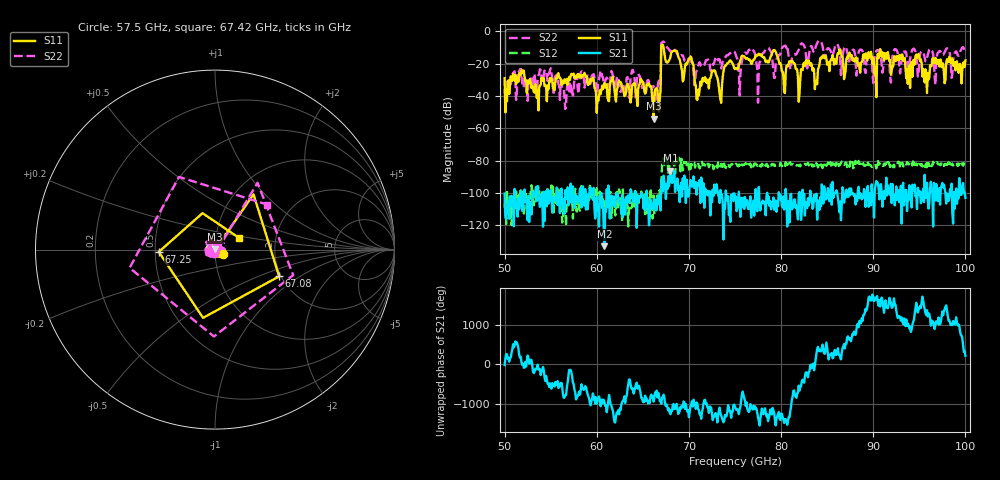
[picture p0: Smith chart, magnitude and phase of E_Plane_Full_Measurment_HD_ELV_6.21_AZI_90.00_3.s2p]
! 11/26/2026 3:14:58 PM
! C:\ANRITSUVNA\TEMP\TEMP.S2P
! CHANNEL.1
! TR.MEASUREMENT
! RAW.DATA
# HZ S RI R 50.0
! FREQ.HZ  S11RE  S11IM  S21RE  S21IM  S12RE  S12IM  S22RE  S22IM
!; PortSelection: Port_12
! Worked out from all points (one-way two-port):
!   601 points, 50 GHz to 100 GHz, reference 50 ohm
!   highest |S21| = -86.23 dB at 68 GHz (marker M1); lowest = -133.0 dB at 60.83 GHz (marker M2)
!   lowest |S11| = -54.0 dB at 66.17 GHz (marker M3), VSWR 1.00, Z = 50.1 + j0.144 ohm
!   |S11| at or under -10 dB: start of sweep to 67 GHz; 67.25 GHz to end of sweep
!   |S22| runs from -48.0 to -5.6 dB; largest |S21 - S12| = 0.00014
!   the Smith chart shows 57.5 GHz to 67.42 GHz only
!   S11 on the Smith chart (normalised r, x): 57.5 GHz: 1.09, -0.05; 67.08 GHz: 1.95, -0.69; 67.25 GHz: 0.52, -0.01; 67.42 GHz: 1.29, +0.18
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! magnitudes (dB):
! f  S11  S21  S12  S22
! 50 GHz  -29.0  -100.4  -109.1  -35.9
! 51.67 GHz  -26.3  -104.1  -102.9  -23.3
! 53.42 GHz  -34.8  -96.3  -106.1  -35.5
! 57.5 GHz  -26.2  -101.5  -98.3  -34.7
! 58.42 GHz  -27.2  -101.2  -101.3  -24.7
! 60.83 GHz  -32.0  -133.0  -104.0  -32.8
! 66.17 GHz  -54.0  -110.1  -101.5  -34.0
! 66.67 GHz  -41.6  -101.6  -103.2  -31.7
! 67.08 GHz  -8.2  -91.3  -83.0  -6.8
! 67.25 GHz  -10.1  -89.4  -78.6  -6.3
! 67.42 GHz  -16.6  -95.5  -78.4  -8.3
! 68 GHz  -15.5  -86.2  -82.1  -12.5
! 70.25 GHz  -16.0  -93.7  -81.9  -18.8
! 70.92 GHz  -42.5  -94.9  -81.9  -23.1
! 75 GHz  -23.3  -104.3  -83.0  -13.0
! 79.25 GHz  -11.5  -110.5  -82.3  -28.8
! 80.25 GHz  -27.8  -102.1  -83.4  -9.3
! 83.42 GHz  -24.3  -109.9  -83.7  -10.8
! 91.67 GHz  -16.7  -99.9  -81.2  -15.2
! 94.83 GHz  -15.0  -96.8  -82.1  -27.9
! 95.83 GHz  -38.1  -93.7  -85.4  -16.5
! 100 GHz  -18.0  -103.1  -83.1  -12.6
